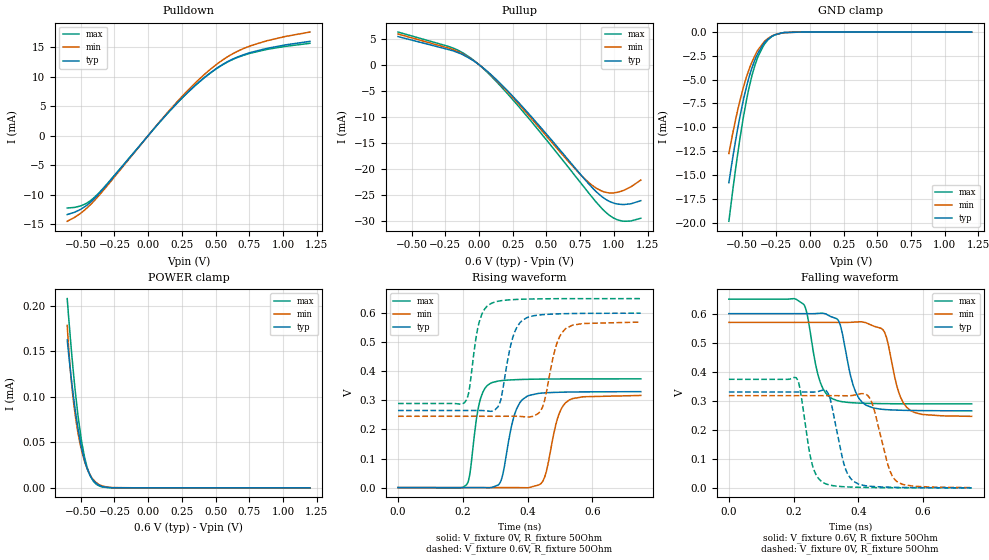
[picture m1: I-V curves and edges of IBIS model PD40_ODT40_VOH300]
| [Disclaimer]  This software code and all associated documentation,
| comments or other information (collectively "Software") is
| provided "AS IS" without warranty of any kind. Winbond Electronics
| Corporation ("WEC") hereby DISCLAIMS ALL WARRANTIES EXPRESS
| OR IMPLIED, INCLUDING BUT NOT LIMITED TO, NONINFRINGEMENT
| OF THIRD PARTY RIGHTS, AND ANY IMPLIED WARRANTIES OF MERCHANTABILITY
| OR FITNESS FOR ANY PARTICULAR PURPOSE. WEC DOES NOT
| WARRANT THAT THE SOFTWARE WILL MEET YOUR REQUIREMENTS, OR THAT
| THE OPERATION OF THE SOFTWARE WILL BE UNINTERRUPTED OR ERROR-FREE.
| FURTHERMORE, WEC DOES NOT MAKE ANY REPRESENTATIONS REGARDING
| THE USE OR THE RESULTS OF THE USE OF THE SOFTWARE IN
| TERMS OF ITS CORRECTNESS, ACCURACY, RELIABILITY, OR OTHERWISE.
| THE ENTIRE RISK ARISING OUT OF USE OR PERFORMANCE OF THE SOFTWARE
| SHALL REMAIN WITH YOU. IN NO EVENT SHALL WEC, ITS AFFILIATED
| COMPANIES OR THEIR SUPPLIERS BE LIABLE FOR ANY DIRECT,
| INDIRECT, CONSEQUENTIAL, INCIDENTAL, OR SPECIAL DAMAGES (INCLUDING,
| WITHOUT LIMITATION, DAMAGES FOR LOSS OF PROFITS, BUSINESS
| INTERRUPTION, OR LOSS OF INFORMATION) ARISING OUT OF YOUR
| USE OF OR INABILITY TO USE THE SOFTWARE, EVEN IF WEC HAS BEEN
| ADVISED OF THE POSSIBILITY OF SUCH DAMAGES.
| [Copyright] Copyright 2020 Winbond Electronics Corporation. All rights reserved
| From w66cq2nquafa_a001.ibs, W66CQ2NQUAFA, Winbond Electronics Corp.
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[Model]   PD40_ODT40_VOH300
Model_type   I/O
Polarity   Non-Inverting
Enable   Active-Low
Vinl = 0.08
Vinh = 0.22
Vmeas = 0.15
Vref = 0
Cref = 0pF
Rref = 40
|   typ   min   max
C_comp   0.85pF   0.80pF   0.90pF
[Voltage Range]   0.6   0.57   0.65
[Temperature Range]   25   95   -40
[Pullup Reference]   0.6   0.57   0.65
[Pulldown Reference]   0   0   0
[Power Clamp Reference]   0.6   0.57   0.65
[GND Clamp Reference]   0   0   0
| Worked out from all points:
|   slope of the pulldown table from 0 to 0.09 V, typ, clamps not added: 37.4 ohm
|   slope of the pullup table from 0 to 0.09 V, typ, clamps not added: 46.4 ohm
|   GND clamp passes 1 mA (typ) near -0.33 V on its own axis
|   falling waveform, V_fixture 0.6V, R_fixture 50Ohm: 20-80 % time 40.6ps typ, 41ps min, 37.9ps max; typ from 0.6 V to 0.265 V
|   rising waveform, V_fixture 0V, R_fixture 50Ohm: 20-80 % time 36.6ps typ, 37.6ps min, 28ps max; typ from 0 V to 0.33 V
|   rising waveform, V_fixture 0.6V, R_fixture 50Ohm: 20-80 % time 36.8ps typ, 38.8ps min, 30ps max; typ from 0.265 V to 0.6 V
|   falling waveform, V_fixture 0V, R_fixture 50Ohm: 20-80 % time 38.7ps typ, 43.4ps min, 33.3ps max; typ from 0.33 V to 0 V
[Pulldown]
|   Voltage   I(typ)   I(min)   I(max)
-600mV    -13.36mA   -14.5mA    -12.25mA
-494.7mV  -12.4mA    -13.04mA   -11.85mA
-452.5mV  -11.74mA   -12.23mA   -11.39mA
-405.6mV  -10.79mA   -11.16mA   -10.6mA
-308.1mV  -8.359mA   -8.618mA   -8.274mA
161.8mV   4.237mA    4.389mA    4.228mA
337.9mV   8.284mA    8.666mA    8.257mA
507mV     11.39mA    12.07mA    11.34mA
627.8mV   12.97mA    13.88mA    12.91mA
762mV     14.11mA    15.24mA    13.99mA
1.013V    15.35mA    16.78mA    15.11mA
1.2V      15.98mA    17.55mA    15.64mA
[GND Clamp]
|   Voltage   I(typ)   I(min)   I(max)
-600mV    -15.82mA   -12.76mA   -19.87mA
-570.1mV  -13.08mA   -10.55mA   -16.49mA
-520.7mV  -9.08mA    -7.354mA   -11.44mA
-494mV    -7.233mA   -5.895mA   -9.067mA
-453.1mV  -4.871mA   -4.036mA   -6.009mA
-429mV    -3.764mA   -3.154mA   -4.573mA
-382.9mV  -2.188mA   -1.857mA   -2.541mA
-338.1mV  -1.167mA   -1.019mA   -1.307mA
-281.4mV  -442.7uA   -424.4uA   -477.8uA
-186.6mV  -57.29uA   -62.4uA    -41.88uA
-59.4mV   -1.275uA   -3.065uA   -475.5nA
1.2V      0A         0A         0A
[Pullup]
|   Voltage   I(typ)   I(min)   I(max)
-600mV    5.379mA    5.87mA     6.249mA
-187.8mV  2.601mA    2.838mA    3.133mA
-114.9mV  1.833mA    1.972mA    2.192mA
5.15mV    -103.8uA   -105.9uA   -117.6uA
128mV     -2.852mA   -2.969mA   -3.224mA
298.3mV   -7.395mA   -7.67mA    -8.146mA
745.2mV   -20.83mA   -20.9mA    -22.39mA
871.2mV   -24.43mA   -23.74mA   -26.45mA
954mV     -26.07mA   -24.58mA   -28.64mA
1.028V    -26.76mA   -24.49mA   -29.8mA
1.124V    -26.71mA   -23.48mA   -30.01mA
1.2V      -26.11mA   -22.16mA   -29.49mA
[POWER Clamp]
|   Voltage   I(typ)   I(min)   I(max)
-600mV    162.4uA    178.3uA    207.7uA
-580mV    133.8uA    135.2uA    170.3uA
-562.9mV  111.5uA    107.5uA    140.9uA
-551mV    97.21uA    91.65uA    122uA
-520.7mV  65.9uA     60.84uA    79.98uA
-494.7mV  44.84uA    41.87uA    52.19uA
-471.3mV  30.31uA    29.01uA    33.49uA
-452.5mV  21.32uA    21.29uA    22.52uA
-428.4mV  13.13uA    13.88uA    12.87uA
-383.6mV  4.808uA    5.627uA    3.873uA
-266mV    132.5nA    287.2nA    24.59nA
1.2V      0A         0A         0A
[Ramp]
R_load = 50
|   typ   min   max
dV/dt_r 1.9798E-01/3.6491E-11   1.9011E-01/3.7613E-11   2.2434E-01/2.7951E-11
dV/dt_f 2.0084E-01/4.0443E-11   1.9425E-01/4.0971E-11   2.1643E-01/3.7855E-11
[Falling Waveform]
V_fixture = 0.6V
V_fixture_min = 0.57V
V_fixture_max = 0.65V
R_fixture = 50Ohm
C_fixture = 0F
|   Time   V(typ)   V(min)   V(max)
0s        600mV      570mV      650mV
230ps     600mV      570mV      633.3mV
282ps     601.6mV    570mV      364.7mV
319ps     588.3mV    570mV      307.3mV
341ps     570.8mV    570mV      298.8mV
384ps     353.3mV    570.7mV    293mV
422ps     285.9mV    569.4mV    291.2mV
480ps     269.9mV    538.4mV    290mV
549ps     266.8mV    277.9mV    289.5mV
750ps     265.3mV    246.3mV    289.3mV
[Rising Waveform]
V_fixture = 0V
V_fixture_min = 0V
V_fixture_max = 0V
R_fixture = 50Ohm
C_fixture = 0F
|   Time   V(typ)   V(min)   V(max)
0s        4.358uV    14.31uV    865.7nV
211ps     2.803uV    14.31uV    8.857mV
254ps     33.03uV    14.5uV     303mV
290ps     591.5uV    13.72uV    361mV
318ps     23.58mV    14.09uV    367.7mV
360ps     251.5mV    57.36uV    371mV
399ps     314.3mV    -552.4uV   372.4mV
447ps     325.3mV    21.16mV    373.2mV
519ps     328.4mV    293.1mV    373.7mV
750ps     330mV      316.9mV    373.9mV
[Rising Waveform]
V_fixture = 0.6V
V_fixture_min = 0.57V
V_fixture_max = 0.65V
R_fixture = 50Ohm
C_fixture = 0F
|   Time   V(typ)   V(min)   V(max)
0s        265.2mV    245.3mV    289.3mV
205ps     265.1mV    245.3mV    291.7mV
250ps     265.3mV    245.3mV    565.9mV
290ps     262.8mV    245.3mV    634.7mV
313ps     286.8mV    245.3mV    641.7mV
384ps     575.2mV    244.2mV    647.9mV
447ps     594.8mV    278.1mV    649.3mV
487ps     597.2mV    482.8mV    649.7mV
518ps     598.2mV    547mV      649.8mV
750ps     599.9mV    569.3mV    650mV
[Falling Waveform]
|Gnd
V_fixture = 0V
V_fixture_min = 0V
V_fixture_max = 0V
R_fixture = 50Ohm
C_fixture = 0F
|   Time   V(typ)   V(min)   V(max)
0s        330mV      317.5mV    373.9mV
208ps     330mV      317.5mV    379.4mV
258ps     329.7mV    317.5mV    78.33mV
298ps     336.3mV    317.5mV    14.43mV
355ps     84.06mV    317.3mV    3.852mV
385ps     22.64mV    318.7mV    2.347mV
441ps     5.012mV    296mV      965.6uV
492ps     2.322mV    77.02mV    404.1uV
518ps     1.655mV    22.84mV    268.6uV
750ps     79.19uV    718.5uV    -13.88uV
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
